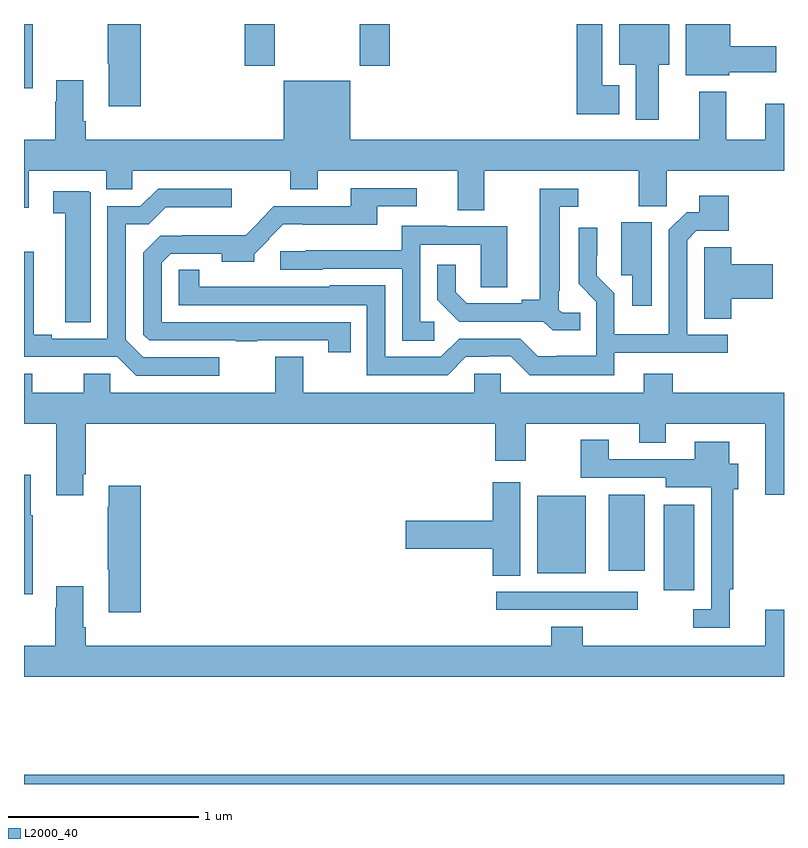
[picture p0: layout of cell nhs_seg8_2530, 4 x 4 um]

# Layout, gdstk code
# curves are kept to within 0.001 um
import gdstk
lib = gdstk.Library(unit=1e-6, precision=1e-09)
def R(c, l, rs):  # rectangles x0, y0, x1, y1
    for r in rs: c.add(gdstk.rectangle(r[:2], r[2:], *l))
def P(c, l, *ps):  # polygons
    for p in ps: c.add(gdstk.Polygon(p, *l))
L2000_40 = (2000, 40)

nhs_seg8_2530 = lib.new_cell('nhs_seg8_2530')
R(nhs_seg8_2530, L2000_40, [(269,1151.9,273,1151.948), (271.485,1152.816,272.23,1152.912), (272.366,1152.921,272.527,1153.369), (271.7,1153.01,271.957,1153.417), (272.078,1153.022,272.266,1153.423), (269,1155.563,269.047,1155.9), (270.161,1155.681,270.321,1155.9), (270.766,1155.681,270.926,1155.9)])
P(nhs_seg8_2530, L2000_40, [(272.712,1155.647),(272.959,1155.647),(272.959,1155.782),(272.716,1155.782),(272.716,1155.9),(272.483,1155.9),(272.483,1155.629),(272.712,1155.629)],
  [(272.134,1155.577),(272.044,1155.577),(272.044,1155.9),(271.91,1155.9),(271.91,1155.425),(272.134,1155.425)],
  [(272.341,1155.686),(272.395,1155.686),(272.395,1155.9),(272.132,1155.9),(272.132,1155.686),(272.219,1155.686),(272.219,1155.396),(272.341,1155.396)],
  [(269.615,1155.9),(269.44,1155.9),(269.44,1155.691),(269.447,1155.691),(269.447,1155.468),(269.615,1155.468)],
  [(271.423,1155.128),(272.236,1155.128),(272.236,1154.941),(272.382,1154.941),(272.382,1155.128),(273,1155.128),(273,1155.481),(272.9,1155.481),(272.9,1155.292),(272.695,1155.292),(272.695,1155.544),(272.555,1155.544),(272.555,1155.292),(270.718,1155.292),(270.718,1155.601),(270.368,1155.601),(270.368,1155.292),(269.324,1155.292),(269.324,1155.388),(269.311,1155.388),(269.311,1155.604),(269.171,1155.604),(269.171,1155.491),(269.164,1155.491),(269.164,1155.292),(269,1155.292),(269,1154.934),(269.026,1154.934),(269.026,1155.128),(269.432,1155.128),(269.432,1155.03),(269.571,1155.03),(269.571,1155.128),(270.4,1155.128),(270.4,1155.029),(270.547,1155.029),(270.547,1155.128),(271.283,1155.128),(271.283,1154.92),(271.423,1154.92)],
  [(270.719,1154.331),(269.724,1154.331),(269.724,1154.643),(269.772,1154.691),(270.041,1154.691),(270.041,1154.648),(270.212,1154.648),(270.212,1154.688),(270.291,1154.766),(270.288,1154.769),(270.365,1154.846),(270.466,1154.846),(270.466,1154.843),(270.859,1154.843),(270.859,1154.94),(271.066,1154.94),(271.066,1155.036),(270.719,1155.036),(270.719,1154.94),(270.315,1154.94),(270.239,1154.863),(270.241,1154.861),(270.167,1154.788),(269.833,1154.788),(269.833,1154.786),(269.717,1154.786),(269.628,1154.697),(269.628,1154.265),(269.658,1154.235),(270.115,1154.235),(270.115,1154.23),(270.227,1154.23),(270.227,1154.235),(270.601,1154.235),(270.601,1154.172),(270.719,1154.172)],
  [(270.028,1154.145),(269.628,1154.145),(269.535,1154.238),(269.535,1154.845),(269.656,1154.845),(269.747,1154.936),(270.094,1154.936),(270.094,1155.033),(269.706,1155.033),(269.613,1154.94),(269.439,1154.94),(269.439,1154.244),(269.146,1154.244),(269.146,1154.264),(269.05,1154.264),(269.05,1154.701),(269,1154.701),(269,1154.148),(269.492,1154.148),(269.591,1154.049),(270.028,1154.049)],
  [(271.928,1154.379),(271.833,1154.379),(271.815,1154.397),(271.815,1154.497),(271.819,1154.497),(271.819,1154.937),(271.918,1154.937),(271.918,1155.033),(271.715,1155.033),(271.715,1154.45),(271.619,1154.45),(271.619,1154.43),(271.33,1154.43),(271.273,1154.487),(271.273,1154.632),(271.176,1154.632),(271.176,1154.45),(271.292,1154.334),(271.734,1154.334),(271.782,1154.287),(271.928,1154.287)],
  [(269.35,1155.011),(269.34,1155.021),(269.154,1155.021),(269.154,1154.905),(269.216,1154.905),(269.216,1154.329),(269.35,1154.329)],
  [(272.107,1154.169),(272.704,1154.169),(272.704,1154.265),(272.49,1154.265),(272.49,1154.763),(272.538,1154.811),(272.708,1154.811),(272.708,1154.995),(272.555,1154.995),(272.555,1154.91),(272.487,1154.91),(272.394,1154.817),(272.394,1154.266),(272.106,1154.266),(272.106,1154.482),(272.015,1154.574),(272.016,1154.827),(271.92,1154.827),(271.92,1154.532),(272.013,1154.439),(272.013,1154.155),(271.804,1154.155),(271.804,1154.151),(271.704,1154.151),(271.611,1154.244),(271.29,1154.244),(271.194,1154.148),(270.9,1154.148),(270.9,1154.524),(270.609,1154.524),(270.609,1154.517),(269.923,1154.518),(269.923,1154.606),(269.814,1154.606),(269.814,1154.421),(270.804,1154.421),(270.804,1154.052),(271.23,1154.052),(271.326,1154.148),(271.446,1154.148),(271.446,1154.151),(271.563,1154.151),(271.663,1154.051),(272.107,1154.051)],
  [(272.305,1154.856),(272.144,1154.856),(272.144,1154.577),(272.201,1154.577),(272.201,1154.418),(272.305,1154.418)],
  [(271.159,1154.334),(271.086,1154.334),(271.086,1154.739),(271.404,1154.739),(271.404,1154.515),(271.543,1154.515),(271.543,1154.835),(271.225,1154.835),(271.225,1154.839),(270.989,1154.839),(270.989,1154.71),(270.483,1154.71),(270.483,1154.703),(270.348,1154.703),(270.348,1154.607),(270.573,1154.607),(270.573,1154.613),(270.99,1154.613),(270.99,1154.233),(271.159,1154.233)],
  [(272.723,1154.453),(272.941,1154.453),(272.941,1154.636),(272.723,1154.636),(272.723,1154.726),(272.58,1154.726),(272.58,1154.618),(272.579,1154.618),(272.579,1154.35),(272.723,1154.35)],
  [(272.261,1154.059),(272.261,1153.96),(271.509,1153.96),(271.509,1154.058),(271.371,1154.058),(271.371,1153.96),(270.471,1153.96),(270.471,1154.15),(270.323,1154.15),(270.323,1153.96),(269.454,1153.96),(269.454,1154.058),(269.315,1154.058),(269.315,1153.96),(269.044,1153.96),(269.044,1154.059),(269,1154.059),(269,1153.796),(269.171,1153.796),(269.171,1153.419),(269.311,1153.419),(269.311,1153.531),(269.324,1153.531),(269.324,1153.796),(271.481,1153.796),(271.481,1153.602),(271.641,1153.602),(271.641,1153.796),(272.237,1153.796),(272.237,1153.697),(272.377,1153.697),(272.377,1153.796),(272.9,1153.796),(272.9,1153.422),(273,1153.422),(273,1153.96),(272.414,1153.96),(272.414,1154.059)],
  [(272.714,1152.926),(272.732,1152.926),(272.732,1153.451),(272.758,1153.451),(272.758,1153.585),(272.713,1153.585),(272.713,1153.702),(272.531,1153.702),(272.531,1153.608),(272.077,1153.608),(272.077,1153.711),(271.93,1153.711),(271.93,1153.512),(272.378,1153.512),(272.378,1153.463),(272.616,1153.463),(272.616,1152.819),(272.523,1152.819),(272.523,1152.723),(272.714,1152.723)],
  [(269.047,1153.315),(269.035,1153.315),(269.035,1153.528),(269,1153.528),(269,1152.899),(269.047,1152.899)],
  [(271.612,1153.489),(271.466,1153.489),(271.466,1153.286),(271.008,1153.286),(271.008,1153.139),(271.466,1153.139),(271.466,1152.997),(271.612,1152.997)],
  [(269.615,1153.471),(269.447,1153.471),(269.447,1153.358),(269.44,1153.358),(269.44,1153.027),(269.447,1153.027),(269.447,1152.804),(269.615,1152.804)],
  [(273,1152.817),(272.9,1152.817),(272.9,1152.628),(271.94,1152.628),(271.94,1152.727),(271.775,1152.727),(271.775,1152.628),(269.324,1152.628),(269.324,1152.724),(269.311,1152.724),(269.311,1152.94),(269.171,1152.94),(269.171,1152.827),(269.164,1152.827),(269.164,1152.628),(269,1152.628),(269,1152.464),(273,1152.464)])

lib.write_gds('nhs_seg8_2530.gds')
